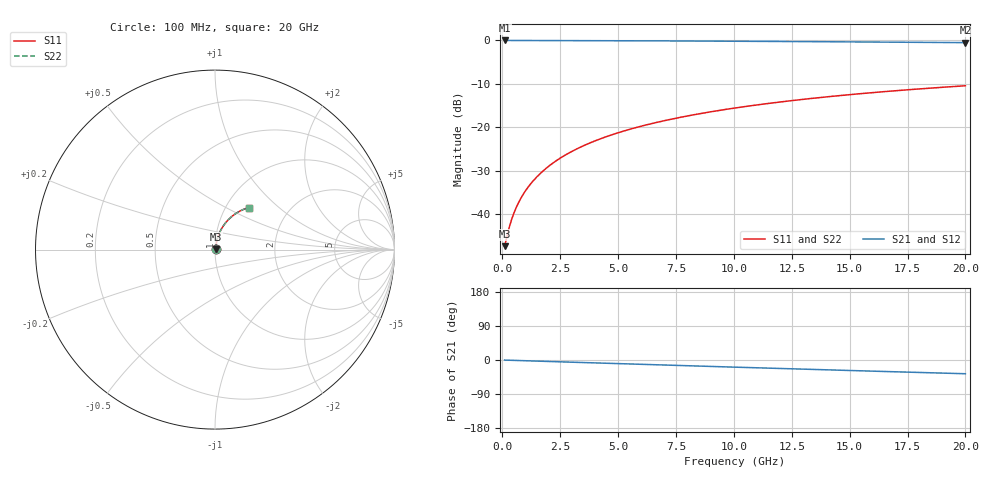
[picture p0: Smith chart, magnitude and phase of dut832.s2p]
! Touchstone file exported from HFSS 2026.1.0
!  File:  C:/ffzhzh/LocalFiles/Ansys_Project_Files/temp_train_TMRDL_832_1783156653_43440.aedt
!  Generated:  05:18:44 PM Jul  4, 2026
!  Design:  TMRDL
!  Project:  temp_train_TMRDL_832_1783156653_43440
! Variables:
!  h_bsmrdl = 2um
!  h_ox = 20um
!  h_rdl = 5um
!  h_sub = 80um
!  h_tmrdl = 3.45um
!  h_tsv = 80um
!  h_via = 3um
!  l_bsmrdl = 300um
!  l_sub = 958.83um
!  l_tmrdl = 558.83um
!  m_sub = 200um
!  pitch = 31.38um
!  r_tsv = 6um
!  s_tmrdl = 10um
!  w_bsmrdl = 18um
!  w_sub = 500um
!  w_tmrdl = 15.61um
!  x_tsv_center1 = 566.635um
!  x_tsv_center2 = 884.635um
!  x_tsv_center3 = 1459.075um
!  x_tsv_center4 = 1777.075um
!  x_tsv_center5 = 2351.515um
!  x_tsv_center6 = 2669.515um
# GHz S MA R 50.000000
! Terminal data exported
! Port[1] = TM_RDL1_1_T1
! Port[2] = TM_RDL1_1_T2
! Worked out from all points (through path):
!   200 points, 100 MHz to 20 GHz, reference 50 ohm
!   highest |S21| = -0.03 dB at 100 MHz (marker M1); lowest = -0.5 dB at 20 GHz (marker M2)
!   group delay of S21, straight-line fit = 5.04 ps
!   lowest |S11| = -47.4 dB at 100 MHz (marker M3), VSWR 1.01, Z = 50.4 + j0.197 ohm
!   |S11| at or under -10 dB: start of sweep to end of sweep
!   |S22| runs from -47.4 to -10.5 dB; largest |S21 - S12| = 2e-15
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0.1  0.004289 27.2  0.9962 -0.2  0.9962 -0.2  0.004289 27.2
! Gamma 0 0 0 0
! Port Impedance 50 0 50 0
0.3  0.007049 54.1  0.9959 -0.6  0.9959 -0.6  0.007049 54.1
0.4  0.008651 60.0  0.9957 -0.8  0.9957 -0.8  0.008651 60.0
0.5  0.01028 64.0  0.9956 -1.0  0.9956 -1.0  0.01028 64.0
0.6  0.01191 66.8  0.9955 -1.2  0.9955 -1.2  0.01191 66.8
0.8  0.01522 70.8  0.9953 -1.6  0.9953 -1.6  0.01522 70.8
1  0.01855 73.3  0.9951 -2.0  0.9951 -2.0  0.01855 73.3
1.2  0.02192 75.0  0.995 -2.3  0.995 -2.3  0.02192 75.0
1.4  0.02531 76.1  0.9948 -2.7  0.9948 -2.7  0.02531 76.1
1.7  0.03043 77.2  0.9945 -3.3  0.9945 -3.3  0.03043 77.2
2.2  0.03899 78.1  0.9941 -4.2  0.9941 -4.2  0.03899 78.1
2.8  0.04926 78.2  0.9933 -5.4  0.9933 -5.4  0.04926 78.2
3.5  0.06119 77.8  0.9923 -6.7  0.9923 -6.7  0.06119 77.8
4.2  0.07303 77.1  0.9912 -8.1  0.9912 -8.1  0.07303 77.1
5  0.08641 76.0  0.9896 -9.6  0.9896 -9.6  0.08641 76.0
5.9  0.1013 74.6  0.9876 -11.3  0.9876 -11.3  0.1013 74.6
6.8  0.1159 73.2  0.9855 -12.9  0.9855 -12.9  0.1159 73.2
8.3  0.1397 70.7  0.9814 -15.7  0.9814 -15.7  0.1397 70.7
10.1  0.1673 67.7  0.9761 -19.0  0.9761 -19.0  0.1673 67.7
13.4  0.2152 62.1  0.9652 -24.9  0.9652 -24.9  0.2152 62.1
16.7  0.2595 56.6  0.9531 -30.7  0.9531 -30.7  0.2595 56.6
20  0.3 51.2  0.9405 -36.3  0.9405 -36.3  0.3 51.2
